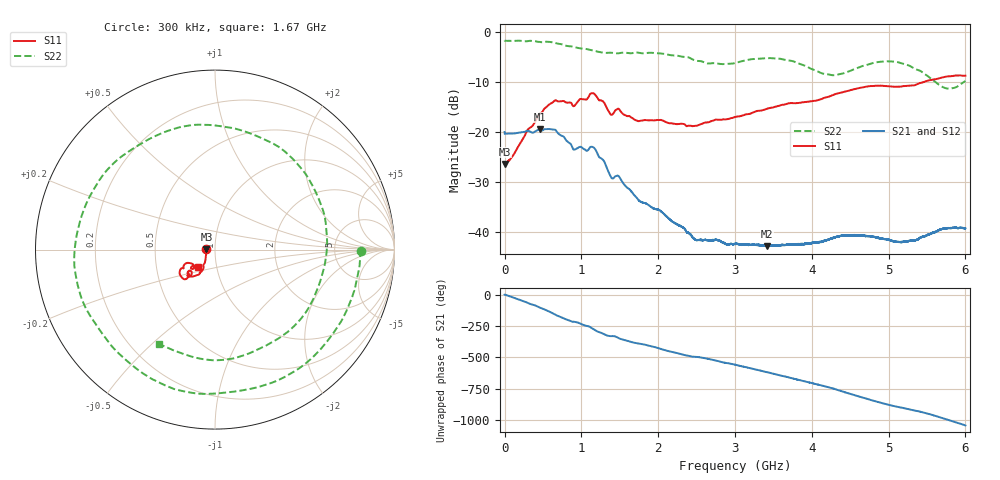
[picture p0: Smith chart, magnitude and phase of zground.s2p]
!  8/6/2020  03:34:46
! Ref Plane: 0.000 mm
# MHZ S MA R  50
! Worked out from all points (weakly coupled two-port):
!   10001 points, 300 kHz to 6 GHz, reference 50 ohm
!   highest |S21| = -19.49 dB at 455.1 MHz (marker M1); lowest = -42.9 dB at 3.42 GHz (marker M2)
!   lowest |S11| = -26.5 dB at 300 kHz (marker M3), VSWR 1.10, Z = 45.5 + j0.0762 ohm
!   |S11| at or under -10 dB: start of sweep to 5.473 GHz
!   |S22| runs from -11.4 to -1.8 dB; largest |S21 - S12| = 0.0026
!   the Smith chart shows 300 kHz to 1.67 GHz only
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0.3  0.04743 179.0  0.09892 -1.0  0.09635 -0.9  0.8152 -0.4
245.0878  0.08633 -129.6  0.09909 -52.9  0.09916 -52.9  0.8022 -72.6
455.0773  0.1512 -122.7  0.1061 -102.2  0.1063 -102.2  0.7884 -134.7
675.2663  0.2038 -136.1  0.101 -165.1  0.1012 -165.2  0.7633 162.3
1000.45  0.212 -135.8  0.06984 124.7  0.06982 124.6  0.6751 71.0
1249.438  0.2053 -149.4  0.05439 58.2  0.05439 58.0  0.6219 -1.5
1538.623  0.1507 -142.3  0.03085 1.4  0.03081 1.2  0.6157 -84.3
1785.211  0.1287 -124.8  0.01972 -33.6  0.01976 -33.6  0.6068 -151.1
2000.6  0.1306 -115.3  0.01658 -65.6  0.01657 -65.6  0.606 153.4
2260.987  0.1188 -104.4  0.01162 -107.4  0.0117 -107.6  0.5715 86.8
2544.773  0.1176 -84.4  0.008187 -139.3  0.008291 -139.4  0.5081 7.4
2782.361  0.131 -72.8  0.008191 -169.2  0.008194 -169.3  0.4774 -66.0
3000.15  0.1399 -62.0  0.007435 162.6  0.00755 163.0  0.4842 -132.9
3419.529  0.1694 -46.4  0.007138 102.7  0.007211 102.5  0.5428 119.9
3761.512  0.1924 -38.2  0.007412 52.0  0.007439 52.0  0.5031 39.8
4000.3  0.2014 -30.4  0.007696 16.9  0.007678 16.9  0.4216 -24.3
4228.289  0.2242 -22.4  0.008379 -18.4  0.008337 -18.7  0.3714 -98.2
4495.275  0.2586 -19.3  0.009177 -67.9  0.009192 -68.2  0.4034 174.5
5000.45  0.2835 -17.6  0.008311 -156.2  0.008276 -156.4  0.5032 51.9
5255.437  0.2878 -10.7  0.007981 170.1  0.008006 169.7  0.4614 -2.8
5523.624  0.3249 -4.2  0.009232 131.2  0.009359 131.1  0.3519 -71.5
6000  0.3616 -8.6  0.01073 39.9  0.01071 40.0  0.3207 118.6
